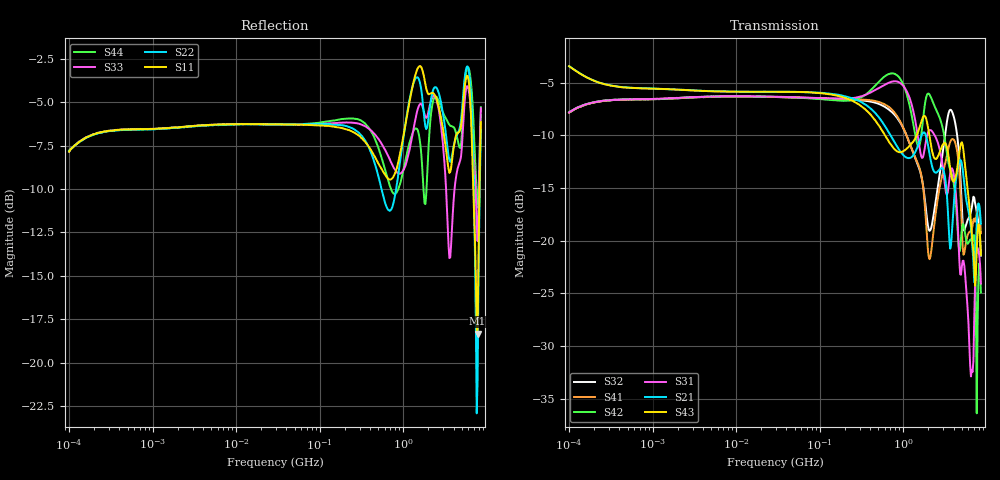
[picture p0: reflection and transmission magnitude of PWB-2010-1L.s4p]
# MHz S MA R 50
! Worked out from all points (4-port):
!   498 points, 100 kHz to 8.5 GHz, reference 50 ohm
!   strongest paths, dB at 100 kHz, 1.698 MHz, 29.49 MHz, 500.7 MHz, 8.5 GHz:
!     S43: -3.4, -5.6, -5.9, -9.0, -21.3
!     S21: -3.4, -5.6, -5.9, -8.2, -18.4
!     S31: -7.8, -6.5, -6.3, -5.5, -24.1
!     S42: -7.8, -6.5, -6.4, -5.0, -24.9
!     S41: -7.9, -6.5, -6.3, -6.8, -19.3
!     S32: -7.8, -6.5, -6.4, -7.0, -21.4
!   lowest |S11| = -18.3 dB at 7.758 GHz (marker M1), VSWR 1.28, Z = 54.3 + j12 ohm
!   |S11| at or under -10 dB: 6.904 GHz to 8.181 GHz (1.276 GHz wide, 16.9 % of centre)
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0.1  0.4054 29.4  0.6728 -17.3  0.4056 30.0  0.4042 -150.2
     0.6728 -17.3  0.4064 29.9  0.4062 -150.5  0.4072 29.3
     0.4056 30.0  0.4062 -150.5  0.4053 29.4  0.6731 -17.4
     0.4042 -150.2  0.4072 29.3  0.6731 -17.4  0.4082 29.7
808.7776  0.3544 -61.2  0.2879 146.1  0.5705 -92.2  0.3993 -36.3
          0.2879 146.1  0.3094 -56.9  0.391 -35.7  0.6163 -91.6
          0.5705 -92.2  0.391 -35.7  0.3577 -82.3  0.2687 117.9
          0.3993 -36.3  0.6163 -91.6  0.2687 117.9  0.3067 -81.6
2476.442  0.58 172.5  0.21 -178.4  0.3059 93.1  0.1399 -135.9
          0.21 -178.4  0.6216 -175.3  0.1588 -116.7  0.4185 93.7
          0.3059 93.1  0.1588 -116.7  0.5755 175.4  0.2442 167.1
          0.1399 -135.9  0.4185 93.7  0.2442 167.1  0.5844 -168.3
3568.796  0.3522 67.7  0.1005 55.3  0.1967 1.4  0.2865 69.5
          0.1005 55.3  0.3838 64.3  0.4141 76.4  0.2239 -26.7
          0.1967 1.4  0.4141 76.4  0.2001 65.7  0.2351 42.4
          0.2865 69.5  0.2239 -26.7  0.2351 42.4  0.4855 86.7
5765.102  0.6707 -110.3  0.1512 -149.4  0.05403 123.6  0.1026 -157.7
          0.1512 -149.4  0.7125 -110.0  0.1223 -157.3  0.09794 131.0
          0.05403 123.6  0.1223 -157.3  0.6257 -102.7  0.1903 -175.4
          0.1026 -157.7  0.09794 131.0  0.1903 -175.4  0.7005 -103.8
7757.924  0.1212 63.6  0.1414 62.1  0.09233 -5.1  0.1425 8.4
          0.1414 62.1  0.08845 22.2  0.1296 -1.0  0.03935 -8.1
          0.09233 -5.1  0.1296 -1.0  0.2239 93.1  0.1104 41.3
          0.1425 8.4  0.03935 -8.1  0.1104 41.3  0.2798 87.7
8500  0.4935 -40.4  0.1204 -46.2  0.06257 -89.5  0.1084 -95.6
      0.1204 -46.2  0.4674 -46.7  0.0849 -80.8  0.05676 -117.9
      0.06257 -89.5  0.0849 -80.8  0.5414 -33.5  0.08561 -63.4
      0.1084 -95.6  0.05676 -117.9  0.08561 -63.4  0.5444 -36.3
